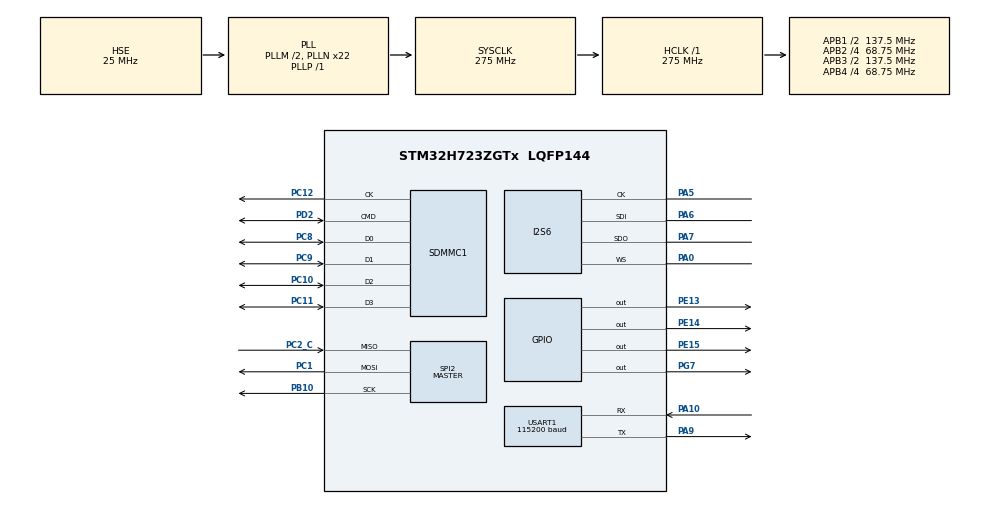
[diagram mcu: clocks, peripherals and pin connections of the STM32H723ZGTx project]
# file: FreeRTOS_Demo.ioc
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Bdma.Request0=SPI6_TX
Bdma.RequestsNb=1
Bdma.SPI6_TX.0.Direction=DMA_MEMORY_TO_PERIPH
Bdma.SPI6_TX.0.EventEnable=DISABLE
Bdma.SPI6_TX.0.Instance=BDMA_Channel0
Bdma.SPI6_TX.0.MemDataAlignment=DMA_MDATAALIGN_HALFWORD
Bdma.SPI6_TX.0.MemInc=DMA_MINC_ENABLE
Bdma.SPI6_TX.0.Mode=DMA_CIRCULAR
Bdma.SPI6_TX.0.PeriphDataAlignment=DMA_PDATAALIGN_HALFWORD
Bdma.SPI6_TX.0.PeriphInc=DMA_PINC_DISABLE
Bdma.SPI6_TX.0.Polarity=HAL_DMAMUX_REQ_GEN_RISING
Bdma.SPI6_TX.0.Priority=DMA_PRIORITY_LOW
Bdma.SPI6_TX.0.RequestNumber=1
Bdma.SPI6_TX.0.SignalID=NONE
Bdma.SPI6_TX.0.SyncEnable=DISABLE
Bdma.SPI6_TX.0.SyncPolarity=HAL_DMAMUX_SYNC_NO_EVENT
Bdma.SPI6_TX.0.SyncRequestNumber=1
Bdma.SPI6_TX.0.SyncSignalID=NONE
CORTEX_M7.default_mode_Activation=1
Dma.Request0=SPI2_TX
Dma.SPI2_TX.0.Direction=DMA_MEMORY_TO_PERIPH
Dma.SPI2_TX.0.EventEnable=DISABLE
Dma.SPI2_TX.0.FIFOMode=DMA_FIFOMODE_DISABLE
Dma.SPI2_TX.0.Instance=DMA1_Stream0
Dma.SPI2_TX.0.MemDataAlignment=DMA_MDATAALIGN_BYTE
Dma.SPI2_TX.0.MemInc=DMA_MINC_ENABLE
Dma.SPI2_TX.0.Mode=DMA_NORMAL
Dma.SPI2_TX.0.PeriphDataAlignment=DMA_PDATAALIGN_BYTE
Dma.SPI2_TX.0.PeriphInc=DMA_PINC_DISABLE
Dma.SPI2_TX.0.Polarity=HAL_DMAMUX_REQ_GEN_RISING
Dma.SPI2_TX.0.Priority=DMA_PRIORITY_LOW
Dma.SPI2_TX.0.RequestNumber=1
Dma.SPI2_TX.0.SignalID=NONE
Dma.SPI2_TX.0.SyncEnable=DISABLE
Dma.SPI2_TX.0.SyncPolarity=HAL_DMAMUX_SYNC_NO_EVENT
Dma.SPI2_TX.0.SyncRequestNumber=1
Dma.SPI2_TX.0.SyncSignalID=NONE
FATFS._FS_EXFAT=1
FATFS._FS_REENTRANT=1
FATFS._FS_TIMEOUT=0xFFFF
FATFS._FS_TINY=1
FATFS._MAX_SS=4096
FATFS._MIN_SS=512
FATFS._MULTI_PARTITION=1
FATFS._USE_LABEL=1
FATFS._USE_LFN=3
FATFS._USE_MUTEX=1
FREERTOS.HEAP_NUMBER=4
FREERTOS.Tasks01=SDCard,0,2048,StartSDCardTask,Default,NULL,Dynamic,NULL,NULL;MainTask,0,1024,StartMainTask,Default,NULL,Dynamic,NULL,NULL
FREERTOS.configTOTAL_HEAP_SIZE=16384
FREERTOS.configUSE_NEWLIB_REENTRANT=1
FREERTOS.copyHeapFile=1
I2S6.AudioFreq=I2S_AUDIOFREQ_16K
I2S6.ErrorAudioFreq=0.2 %
I2S6.Instance=SPI$Index
I2S6.RealAudioFreq=16.033 KHz
Mcu.Family=STM32H7
Mcu.Name=STM32H723ZGTx
Mcu.Package=LQFP144
NVIC.BDMA_Channel0_IRQn=true\:6\:0\:true\:false\:true\:true\:false\:true\:true
NVIC.DMA1_Stream0_IRQn=true\:0\:0\:true\:false\:true\:false\:false\:true\:true
NVIC.PriorityGroup=NVIC_PRIORITYGROUP_4
NVIC.SDMMC1_IRQn=true\:6\:0\:true\:false\:true\:true\:true\:true\:true
NVIC.SPI2_IRQn=true\:6\:0\:true\:false\:true\:true\:false\:true\:true
NVIC.TIM6_DAC_IRQn=true\:15\:0\:false\:false\:true\:false\:false\:true\:true
NVIC.TimeBase=TIM6_DAC_IRQn
NVIC.TimeBaseIP=TIM6
PA0.Mode=Full_Duplex_Master
PA0.Signal=I2S6_WS
PA10.Mode=Asynchronous
PA10.Signal=USART1_RX
PA13(JTMS/SWDIO).Mode=Serial_Wire
PA13(JTMS/SWDIO).Signal=DEBUG_JTMS-SWDIO
PA14(JTCK/SWCLK).Mode=Serial_Wire
PA14(JTCK/SWCLK).Signal=DEBUG_JTCK-SWCLK
PA5.Mode=Full_Duplex_Master
PA5.Signal=I2S6_CK
PA6.Mode=Full_Duplex_Master
PA6.Signal=I2S6_SDI
PA7.Mode=Full_Duplex_Master
PA7.Signal=I2S6_SDO
PA9.Mode=Asynchronous
PA9.Signal=USART1_TX
PB10.Mode=Full_Duplex_Master
PB10.Signal=SPI2_SCK
PC1.Mode=Full_Duplex_Master
PC1.Signal=SPI2_MOSI
PC10.Mode=SD_4_bits_Wide_bus
PC10.Signal=SDMMC1_D2
PC11.Mode=SD_4_bits_Wide_bus
PC11.Signal=SDMMC1_D3
PC12.Mode=SD_4_bits_Wide_bus
PC12.Signal=SDMMC1_CK
PC2_C.Mode=Full_Duplex_Master
PC2_C.Signal=SPI2_MISO
PC8.Mode=SD_4_bits_Wide_bus
PC8.Signal=SDMMC1_D0
PC9.Mode=SD_4_bits_Wide_bus
PC9.Signal=SDMMC1_D1
PD2.Mode=SD_4_bits_Wide_bus
PD2.Signal=SDMMC1_CMD
PE13.Signal=GPIO_Output
PE14.Signal=GPIO_Output
PE15.Signal=GPIO_Output
PG7.Signal=GPIO_Output
PH0-OSC_IN.Mode=HSE-External-Oscillator
PH0-OSC_IN.Signal=RCC_OSC_IN
PH1-OSC_OUT.Mode=HSE-External-Oscillator
PH1-OSC_OUT.Signal=RCC_OSC_OUT
ProjectManager.HeapSize=0x200
ProjectManager.StackSize=0x400
ProjectManager.TargetToolchain=STM32CubeIDE
RCC.ADCFreq_Value=50390625
RCC.APB1Freq_Value=137500000
RCC.APB2Freq_Value=68750000
RCC.APB3Freq_Value=137500000
RCC.APB4Freq_Value=68750000
RCC.CKPERSourceSelection=RCC_CLKPSOURCE_HSE
RCC.CortexFreq_Value=275000000
RCC.D1PPRE=RCC_APB3_DIV2
RCC.D2PPRE1=RCC_APB1_DIV2
RCC.D2PPRE2=RCC_APB2_DIV4
RCC.D3PPRE=RCC_APB4_DIV4
RCC.DIVM1=2
RCC.DIVN1=22
RCC.DIVP1=1
RCC.DIVQ1=3
RCC.HCLKFreq_Value=275000000
RCC.PLL2FRACN=0
RCC.PLL3FRACN=0
RCC.PLLFRACN=0
RCC.PLLSourceVirtual=RCC_PLLSOURCE_HSE
RCC.SYSCLKFreq_VALUE=275000000
RCC.SYSCLKSource=RCC_SYSCLKSOURCE_PLLCLK
RCC.USBFreq_Value=91666666.66666667
SDMMC1.ClockDiv=4
SDMMC1.HardwareFlowControl=SDMMC_HARDWARE_FLOW_CONTROL_ENABLE
SDMMC1.TransceiverPresent=SDMMC_TRANSCEIVER_NOT_PRESENT
SPI2.BaudRatePrescaler=SPI_BAUDRATEPRESCALER_4
SPI2.CalculateBaudRate=22.916666 MBits/s
SPI2.DataSize=SPI_DATASIZE_8BIT
SPI2.Direction=SPI_DIRECTION_2LINES
SPI2.FifoThreshold=SPI_FIFO_THRESHOLD_01DATA
SPI2.Mode=SPI_MODE_MASTER
SPI2.NSSPMode=SPI_NSS_PULSE_ENABLE
SPI2.VirtualType=VM_MASTER
USART1.BaudRate=115200
USART1.VirtualMode-Asynchronous=VM_ASYNC
VP_FATFS_VS_SDIO.Mode=SDIO
VP_FREERTOS_VS_CMSIS_V1.Mode=CMSIS_V1
VP_MEMORYMAP_VS_MEMORYMAP.Mode=CurAppReg
VP_SYS_VS_tim6.Mode=TIM6
board=custom

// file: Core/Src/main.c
/* USER CODE BEGIN Header */
/**
 ******************************************************************************
 * @file           : main.c
 * @brief          : Main program body
 ******************************************************************************
 * @attention
 *
 * Copyright (c) 2025 STMicroelectronics.
 * All rights reserved.
 *
 * This software is licensed under terms that can be found in the LICENSE file
 * in the root directory of this software component.
 * If no LICENSE file comes with this software, it is provided AS-IS.
 *
 ******************************************************************************
 */
/* USER CODE END Header */
#include "main.h"
#include "cmsis_os.h"
#include "fatfs.h"

/* USER CODE BEGIN Includes */
#include "itr.h"
#include "display.h"
#include "sdio_functions.h"
/* USER CODE END Includes */

I2S_HandleTypeDef hi2s6;
DMA_HandleTypeDef hdma_spi6_tx;

SD_HandleTypeDef hsd1;

SPI_HandleTypeDef hspi2;
DMA_HandleTypeDef hdma_spi2_tx;

UART_HandleTypeDef huart1;

osThreadId SDCardHandle;
osThreadId MainTaskHandle;

void SystemClock_Config(void);
static void MPU_Config(void);
static void MX_GPIO_Init(void);
static void MX_BDMA_Init(void);
static void MX_DMA_Init(void);
static void MX_USART1_UART_Init(void);
static void MX_SDMMC1_SD_Init(void);
static void MX_I2S6_Init(void);
static void MX_SPI2_Init(void);
void StartSDCardTask(void const * argument);
void StartMainTask(void const * argument);

/* USER CODE BEGIN PFP */
int _write(int fd, unsigned char *buf, int len) {
	if (fd == 1 || fd == 2) {                              // stdout or stderr ?
		HAL_UART_Transmit(&huart1, buf, len, 999); // Print to the UART
	}
	return len;
}
void PrintTask_Low() {
	printf("Task Low\n");
}

void PrintTask_Normal() {
	printf("Task Normal\n");
}

void PrintTask_High() {
	printf("Task High\n");
}
/* USER CODE END PFP */

/* USER CODE BEGIN 0 */
volatile uint8_t IsPlayingContent = 0;
SDFile_Info FileListTree;
SDFile_Info *Current_Page;
FRESULT res;
FIL file;
/* USER CODE END 0 */

int main(void)
{

  /* MPU Configuration--------------------------------------------------------*/
  MPU_Config();

  /* MCU Configuration--------------------------------------------------------*/

  /* Reset of all peripherals, Initializes the Flash interface and the Systick. */
  HAL_Init();

  /* Configure the system clock */
  SystemClock_Config();

  /* Initialize all configured peripherals */
  MX_GPIO_Init();
  MX_BDMA_Init();
  MX_DMA_Init();
  MX_USART1_UART_Init();
  MX_SDMMC1_SD_Init();
  MX_FATFS_Init();
  MX_I2S6_Init();
  MX_SPI2_Init();
  /* USER CODE BEGIN 2 */
	//Itr_InitI2SCBFunc(Audio_I2S_TxHalfCb, Audio_I2S_TxCpltCb);

	LCD_Init(&hspi2, &IsPlayingContent, 1);
	LCD_AdjustGamma();
	LCD_FillScreen(0x0000, 320, 240);
	Itr_InitSPICBFunc(LCD_SPI_TxCpltCb, LCD_SPI_TxRxCpltCb);

  /* USER CODE END 2 */

  /* Create the thread(s) */
  /* definition and creation of SDCard */
  osThreadDef(SDCard, StartSDCardTask, osPriorityNormal, 0, 2048);
  SDCardHandle = osThreadCreate(osThread(SDCard), NULL);

  /* definition and creation of MainTask */
  osThreadDef(MainTask, StartMainTask, osPriorityNormal, 0, 1024);
  MainTaskHandle = osThreadCreate(osThread(MainTask), NULL);

  /* Start scheduler */
  osKernelStart();

  /* We should never get here as control is now taken by the scheduler */

  /* Infinite loop */
  /* USER CODE BEGIN WHILE */
	while (1) {
//		printf("xuantruong\n");
//		HAL_GPIO_TogglePin(GPIOG, GPIO_PIN_7);
//		HAL_Delay(2000);
    /* USER CODE END WHILE */

	}
}

void SystemClock_Config(void)
{
  RCC_OscInitTypeDef RCC_OscInitStruct = {0};
  RCC_ClkInitTypeDef RCC_ClkInitStruct = {0};

  /** Supply configuration update enable
  */
  HAL_PWREx_ConfigSupply(PWR_LDO_SUPPLY);

  /** Configure the main internal regulator output voltage
  */
  __HAL_PWR_VOLTAGESCALING_CONFIG(PWR_REGULATOR_VOLTAGE_SCALE0);

  while(!__HAL_PWR_GET_FLAG(PWR_FLAG_VOSRDY)) {}

  /** Initializes the RCC Oscillators according to the specified parameters
  * in the RCC_OscInitTypeDef structure.
  */
  RCC_OscInitStruct.OscillatorType = RCC_OSCILLATORTYPE_HSE;
  RCC_OscInitStruct.HSEState = RCC_HSE_ON;
  RCC_OscInitStruct.PLL.PLLState = RCC_PLL_ON;
  RCC_OscInitStruct.PLL.PLLSource = RCC_PLLSOURCE_HSE;
  RCC_OscInitStruct.PLL.PLLM = 2;
  RCC_OscInitStruct.PLL.PLLN = 22;
  RCC_OscInitStruct.PLL.PLLP = 1;
  RCC_OscInitStruct.PLL.PLLQ = 3;
  RCC_OscInitStruct.PLL.PLLR = 2;
  RCC_OscInitStruct.PLL.PLLRGE = RCC_PLL1VCIRANGE_3;
  RCC_OscInitStruct.PLL.PLLVCOSEL = RCC_PLL1VCOWIDE;
  RCC_OscInitStruct.PLL.PLLFRACN = 0;
  if (HAL_RCC_OscConfig(&RCC_OscInitStruct) != HAL_OK)
  {
    Error_Handler();
  }

  /** Initializes the CPU, AHB and APB buses clocks
  */
  RCC_ClkInitStruct.ClockType = RCC_CLOCKTYPE_HCLK|RCC_CLOCKTYPE_SYSCLK
                              |RCC_CLOCKTYPE_PCLK1|RCC_CLOCKTYPE_PCLK2
                              |RCC_CLOCKTYPE_D3PCLK1|RCC_CLOCKTYPE_D1PCLK1;
  RCC_ClkInitStruct.SYSCLKSource = RCC_SYSCLKSOURCE_PLLCLK;
  RCC_ClkInitStruct.SYSCLKDivider = RCC_SYSCLK_DIV1;
  RCC_ClkInitStruct.AHBCLKDivider = RCC_HCLK_DIV1;
  RCC_ClkInitStruct.APB3CLKDivider = RCC_APB3_DIV2;
  RCC_ClkInitStruct.APB1CLKDivider = RCC_APB1_DIV2;
  RCC_ClkInitStruct.APB2CLKDivider = RCC_APB2_DIV4;
  RCC_ClkInitStruct.APB4CLKDivider = RCC_APB4_DIV4;

  if (HAL_RCC_ClockConfig(&RCC_ClkInitStruct, FLASH_LATENCY_3) != HAL_OK)
  {
    Error_Handler();
  }
}

static void MX_I2S6_Init(void)
{

  hi2s6.Instance = SPI6;
  hi2s6.Init.Mode = I2S_MODE_MASTER_FULLDUPLEX;
  hi2s6.Init.Standard = I2S_STANDARD_PHILIPS;
  hi2s6.Init.DataFormat = I2S_DATAFORMAT_16B;
  hi2s6.Init.MCLKOutput = I2S_MCLKOUTPUT_DISABLE;
  hi2s6.Init.AudioFreq = I2S_AUDIOFREQ_16K;
  hi2s6.Init.CPOL = I2S_CPOL_LOW;
  hi2s6.Init.FirstBit = I2S_FIRSTBIT_MSB;
  hi2s6.Init.WSInversion = I2S_WS_INVERSION_DISABLE;
  hi2s6.Init.Data24BitAlignment = I2S_DATA_24BIT_ALIGNMENT_RIGHT;
  hi2s6.Init.MasterKeepIOState = I2S_MASTER_KEEP_IO_STATE_DISABLE;
  if (HAL_I2S_Init(&hi2s6) != HAL_OK)
  {
    Error_Handler();
  }

}

static void MX_SDMMC1_SD_Init(void)
{

  hsd1.Instance = SDMMC1;
  hsd1.Init.ClockEdge = SDMMC_CLOCK_EDGE_RISING;
  hsd1.Init.ClockPowerSave = SDMMC_CLOCK_POWER_SAVE_DISABLE;
  hsd1.Init.BusWide = SDMMC_BUS_WIDE_4B;
  hsd1.Init.HardwareFlowControl = SDMMC_HARDWARE_FLOW_CONTROL_ENABLE;
  hsd1.Init.ClockDiv = 4;
  if (HAL_SD_Init(&hsd1) != HAL_OK)
  {
    Error_Handler();
  }

}

static void MX_SPI2_Init(void)
{

  /* SPI2 parameter configuration*/
  hspi2.Instance = SPI2;
  hspi2.Init.Mode = SPI_MODE_MASTER;
  hspi2.Init.Direction = SPI_DIRECTION_2LINES;
  hspi2.Init.DataSize = SPI_DATASIZE_8BIT;
  hspi2.Init.CLKPolarity = SPI_POLARITY_LOW;
  hspi2.Init.CLKPhase = SPI_PHASE_1EDGE;
  hspi2.Init.NSS = SPI_NSS_SOFT;
  hspi2.Init.BaudRatePrescaler = SPI_BAUDRATEPRESCALER_4;
  hspi2.Init.FirstBit = SPI_FIRSTBIT_MSB;
  hspi2.Init.TIMode = SPI_TIMODE_DISABLE;
  hspi2.Init.CRCCalculation = SPI_CRCCALCULATION_DISABLE;
  hspi2.Init.CRCPolynomial = 0x0;
  hspi2.Init.NSSPMode = SPI_NSS_PULSE_ENABLE;
  hspi2.Init.NSSPolarity = SPI_NSS_POLARITY_LOW;
  hspi2.Init.FifoThreshold = SPI_FIFO_THRESHOLD_01DATA;
  hspi2.Init.TxCRCInitializationPattern = SPI_CRC_INITIALIZATION_ALL_ZERO_PATTERN;
  hspi2.Init.RxCRCInitializationPattern = SPI_CRC_INITIALIZATION_ALL_ZERO_PATTERN;
  hspi2.Init.MasterSSIdleness = SPI_MASTER_SS_IDLENESS_00CYCLE;
  hspi2.Init.MasterInterDataIdleness = SPI_MASTER_INTERDATA_IDLENESS_00CYCLE;
  hspi2.Init.MasterReceiverAutoSusp = SPI_MASTER_RX_AUTOSUSP_DISABLE;
  hspi2.Init.MasterKeepIOState = SPI_MASTER_KEEP_IO_STATE_DISABLE;
  hspi2.Init.IOSwap = SPI_IO_SWAP_DISABLE;
  if (HAL_SPI_Init(&hspi2) != HAL_OK)
  {
    Error_Handler();
  }

}

static void MX_USART1_UART_Init(void)
{

  huart1.Instance = USART1;
  huart1.Init.BaudRate = 115200;
  huart1.Init.WordLength = UART_WORDLENGTH_8B;
  huart1.Init.StopBits = UART_STOPBITS_1;
  huart1.Init.Parity = UART_PARITY_NONE;
  huart1.Init.Mode = UART_MODE_TX_RX;
  huart1.Init.HwFlowCtl = UART_HWCONTROL_NONE;
  huart1.Init.OverSampling = UART_OVERSAMPLING_16;
  huart1.Init.OneBitSampling = UART_ONE_BIT_SAMPLE_DISABLE;
  huart1.Init.ClockPrescaler = UART_PRESCALER_DIV1;
  huart1.AdvancedInit.AdvFeatureInit = UART_ADVFEATURE_NO_INIT;
  if (HAL_UART_Init(&huart1) != HAL_OK)
  {
    Error_Handler();
  }
  if (HAL_UARTEx_SetTxFifoThreshold(&huart1, UART_TXFIFO_THRESHOLD_1_8) != HAL_OK)
  {
    Error_Handler();
  }
  if (HAL_UARTEx_SetRxFifoThreshold(&huart1, UART_RXFIFO_THRESHOLD_1_8) != HAL_OK)
  {
    Error_Handler();
  }
  if (HAL_UARTEx_DisableFifoMode(&huart1) != HAL_OK)
  {
    Error_Handler();
  }

}

static void MX_BDMA_Init(void)
{

  /* DMA controller clock enable */
  __HAL_RCC_BDMA_CLK_ENABLE();

  /* DMA interrupt init */
  /* BDMA_Channel0_IRQn interrupt configuration */
  HAL_NVIC_SetPriority(BDMA_Channel0_IRQn, 6, 0);
  HAL_NVIC_EnableIRQ(BDMA_Channel0_IRQn);

}

static void MX_DMA_Init(void)
{

  /* DMA controller clock enable */
  __HAL_RCC_DMA1_CLK_ENABLE();

  /* DMA interrupt init */
  /* DMA1_Stream0_IRQn interrupt configuration */
  HAL_NVIC_SetPriority(DMA1_Stream0_IRQn, 0, 0);
  HAL_NVIC_EnableIRQ(DMA1_Stream0_IRQn);

}

static void MX_GPIO_Init(void)
{
  GPIO_InitTypeDef GPIO_InitStruct = {0};

  /* GPIO Ports Clock Enable */
  __HAL_RCC_GPIOH_CLK_ENABLE();
  __HAL_RCC_GPIOC_CLK_ENABLE();
  __HAL_RCC_GPIOA_CLK_ENABLE();
  __HAL_RCC_GPIOE_CLK_ENABLE();
  __HAL_RCC_GPIOB_CLK_ENABLE();
  __HAL_RCC_GPIOG_CLK_ENABLE();
  __HAL_RCC_GPIOD_CLK_ENABLE();

  /*Configure GPIO pin Output Level */
  HAL_GPIO_WritePin(GPIOE, GPIO_PIN_13|GPIO_PIN_14|GPIO_PIN_15, GPIO_PIN_RESET);

  /*Configure GPIO pin Output Level */
  HAL_GPIO_WritePin(GPIOG, GPIO_PIN_7, GPIO_PIN_RESET);

  /*Configure GPIO pins : PE13 PE14 PE15 */
  GPIO_InitStruct.Pin = GPIO_PIN_13|GPIO_PIN_14|GPIO_PIN_15;
  GPIO_InitStruct.Mode = GPIO_MODE_OUTPUT_PP;
  GPIO_InitStruct.Pull = GPIO_NOPULL;
  GPIO_InitStruct.Speed = GPIO_SPEED_FREQ_LOW;
  HAL_GPIO_Init(GPIOE, &GPIO_InitStruct);

  /*Configure GPIO pin : PG7 */
  GPIO_InitStruct.Pin = GPIO_PIN_7;
  GPIO_InitStruct.Mode = GPIO_MODE_OUTPUT_PP;
  GPIO_InitStruct.Pull = GPIO_NOPULL;
  GPIO_InitStruct.Speed = GPIO_SPEED_FREQ_LOW;
  HAL_GPIO_Init(GPIOG, &GPIO_InitStruct);

}

void StartSDCardTask(void const * argument)
{
  /* USER CODE BEGIN 5 */
	sdio_mount();
	uint8_t image_id = 1;
	//sdio_list_files(&FileListTree);
	//print_directory(FileListTree.Directory_Ptr, 0, FileListTree.childCount);
	LCD_DisplayJPEG("0:/image/Image_Group_1/image6_320x240.jpg");
	/* Infinite loop */
	for (;;) {
		//sprintf(file_name, "image%d_320x240.jpg", image_id);
//		LCD_DisplayBMP("0:/image/image1_rgb888_320x240.bmp");
//		osDelay(1000);
//		LCD_DisplayBMP("0:/image/image2_rgb888_320x240.bmp");
//		osDelay(1000);
//		LCD_DisplayBMP("0:/image/image1_rgb565_320x240.bmp");
//		osDelay(1000);
//		LCD_DisplayBMP("0:/image/image2_rgb565_320x240.bmp");
//		osDelay(1000);
//		LCD_DisplayBMP("0:/image/image1_rgb565le_320x240.bmp");
//		osDelay(1000);
	}
  /* USER CODE END 5 */
}

void StartMainTask(void const * argument)
{
  /* USER CODE BEGIN StartMainTask */
  /* Infinite loop */
  for(;;)
  {
	  printf("Main Task Print\n");
	  osDelay(1000);
  }
  /* USER CODE END StartMainTask */
}

 /* MPU Configuration */

void MPU_Config(void)
{
  MPU_Region_InitTypeDef MPU_InitStruct = {0};

  /* Disables the MPU */
  HAL_MPU_Disable();

  /** Initializes and configures the Region and the memory to be protected
  */
  MPU_InitStruct.Enable = MPU_REGION_ENABLE;
  MPU_InitStruct.Number = MPU_REGION_NUMBER0;
  MPU_InitStruct.BaseAddress = 0x0;
  MPU_InitStruct.Size = MPU_REGION_SIZE_4GB;
  MPU_InitStruct.SubRegionDisable = 0x87;
  MPU_InitStruct.TypeExtField = MPU_TEX_LEVEL0;
  MPU_InitStruct.AccessPermission = MPU_REGION_NO_ACCESS;
  MPU_InitStruct.DisableExec = MPU_INSTRUCTION_ACCESS_DISABLE;
  MPU_InitStruct.IsShareable = MPU_ACCESS_SHAREABLE;
  MPU_InitStruct.IsCacheable = MPU_ACCESS_NOT_CACHEABLE;
  MPU_InitStruct.IsBufferable = MPU_ACCESS_NOT_BUFFERABLE;

  HAL_MPU_ConfigRegion(&MPU_InitStruct);
  /* Enables the MPU */
  HAL_MPU_Enable(MPU_PRIVILEGED_DEFAULT);

}

void HAL_TIM_PeriodElapsedCallback(TIM_HandleTypeDef *htim)
{
  if (htim->Instance == TIM6)
  {
    HAL_IncTick();
  }
}

void Error_Handler(void)
{
	__disable_irq();
	while (1) {
	}
}
